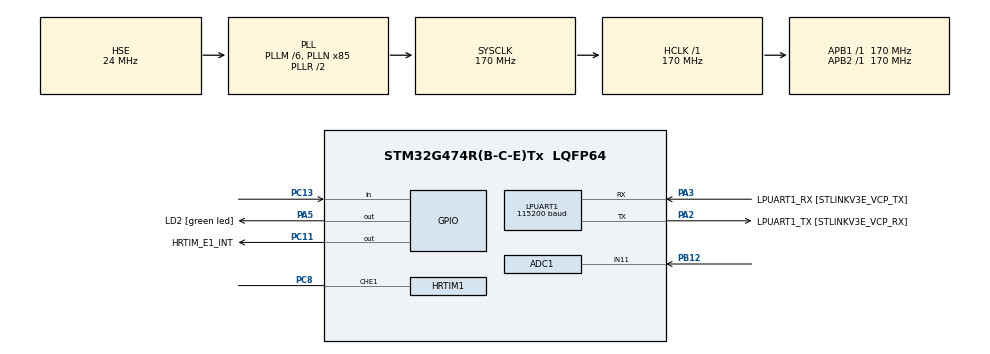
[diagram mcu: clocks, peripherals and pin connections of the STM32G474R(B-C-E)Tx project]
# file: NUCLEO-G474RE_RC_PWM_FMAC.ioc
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ADC1.Channel-0\#ChannelRegularConversion=ADC_CHANNEL_11
ADC1.ClockPrescaler=ADC_CLOCK_ASYNC_DIV4
ADC1.DMAContinuousRequests=ENABLE
ADC1.DataAlign=ADC_DATAALIGN_LEFT
ADC1.EOCSelection=ADC_EOC_SINGLE_CONV
ADC1.EnableInjectedConversion=DISABLE
ADC1.ExternalTrigConv=ADC_EXTERNALTRIG_HRTIM_TRG1
ADC1.GainCompensation=0
ADC1.NbrOfConversionFlag=1
ADC1.Offset-0\#ChannelRegularConversion=2048
ADC1.OffsetNumber-0\#ChannelRegularConversion=ADC_OFFSET_1
ADC1.Overrun=ADC_OVR_DATA_OVERWRITTEN
ADC1.Rank-0\#ChannelRegularConversion=1
ADC1.Rank1_Channel=ADC_CHANNEL_11
ADC1.SamplingTime-0\#ChannelRegularConversion=ADC_SAMPLETIME_6CYCLES_5
ADC1.master=1
Dma.ADC1.0.Direction=DMA_PERIPH_TO_MEMORY
Dma.ADC1.0.EventEnable=DISABLE
Dma.ADC1.0.Instance=DMA1_Channel1
Dma.ADC1.0.MemDataAlignment=DMA_MDATAALIGN_WORD
Dma.ADC1.0.MemInc=DMA_MINC_ENABLE
Dma.ADC1.0.Mode=DMA_CIRCULAR
Dma.ADC1.0.PeriphDataAlignment=DMA_PDATAALIGN_WORD
Dma.ADC1.0.PeriphInc=DMA_PINC_DISABLE
Dma.ADC1.0.Polarity=HAL_DMAMUX_REQ_GEN_RISING
Dma.ADC1.0.Priority=DMA_PRIORITY_MEDIUM
Dma.ADC1.0.RequestNumber=1
Dma.ADC1.0.SignalID=NONE
Dma.ADC1.0.SyncEnable=DISABLE
Dma.ADC1.0.SyncPolarity=HAL_DMAMUX_SYNC_NO_EVENT
Dma.ADC1.0.SyncRequestNumber=1
Dma.ADC1.0.SyncSignalID=NONE
Dma.Request0=ADC1
HRTIM1.ADCTrigger1_Source1=HRTIM_ADCTRIGGEREVENT13_TIMERE_CMP3
HRTIM1.ADCTrigger_Id1=HRTIM_ADCTRIGGER_1
HRTIM1.CompareUnit1-Output_TE1=HRTIM_COMPAREUNIT_1
HRTIM1.CompareUnit2-Output_TE1=__NULL
HRTIM1.CompareUnit3-Output_TE1=HRTIM_COMPAREUNIT_3
HRTIM1.CompareValue1-Output_TE1=400
HRTIM1.CompareValue3-Output_TE1=27000
HRTIM1.Event_EEV1=__NULL
HRTIM1.HRTIMInterruptResquests1=HRTIM_IT_NONE
HRTIM1.HRTIMInterruptResquests2=HRTIM_IT_NONE
HRTIM1.HRTIMInterruptResquests3=HRTIM_IT_NONE
HRTIM1.InterruptRequests1-Output_TE1=HRTIM_TIM_IT_UPD
HRTIM1.NumberADCTriggerSource1=1
HRTIM1.NumberFaultEnable-Output_TE1=0
HRTIM1.NumberInterruptRequests-Output_TE1=0
HRTIM1.NumberResetSource1-Output_TE1=1
HRTIM1.NumberResetTrigger-Output_TE1=0
HRTIM1.NumberSetSource1-Output_TE1=1
HRTIM1.NumberUpdateTrigger-Output_TE1=0
HRTIM1.ORingUpdateSource_ADCTrigger1=HRTIM_ADCTRIGGERUPDATE_TIMER_E
HRTIM1.Periode_TE=27200
HRTIM1.PreloadEnable-Output_TE1=HRTIM_PRELOAD_DISABLED
HRTIM1.PrescalerRatio_TE=HRTIM_PRESCALERRATIO_MUL8
HRTIM1.ReSyncUpdate-Output_TE1=HRTIM_TIMERESYNC_UPDATE_UNCONDITIONAL
HRTIM1.RepetitionCounter-Output_TE1=1
HRTIM1.RepetitionUpdate-Output_TE1=HRTIM_UPDATEONREPETITION_DISABLED
HRTIM1.ResetOutput1_Source1-Output_TE1=HRTIM_OUTPUTRESET_TIMCMP1
HRTIM1.ResetUpdate-Output_TE1=HRTIM_TIMUPDATEONRESET_DISABLED
HRTIM1.SetOutput1_Source1-Output_TE1=HRTIM_OUTPUTSET_TIMPER
LPUART1.BaudRate=115200
LPUART1.WordLength=UART_WORDLENGTH_8B
Mcu.Family=STM32G4
Mcu.Name=STM32G474R(B-C-E)Tx
Mcu.Package=LQFP64
NVIC.FMAC_IRQn=true\:0\:0\:false\:false\:true\:true\:false
NVIC.PriorityGroup=NVIC_PRIORITYGROUP_4
PA13.GPIO_Label=T_SWDIO
PA13.Mode=Trace_Asynchronous_SW
PA13.Signal=SYS_JTMS-SWDIO
PA14.GPIO_Label=T_SWCLK
PA14.Mode=Trace_Asynchronous_SW
PA14.Signal=SYS_JTCK-SWCLK
PA2.GPIO_Label=LPUART1_TX [STLINKV3E_VCP_RX]
PA2.Mode=Asynchronous
PA2.Signal=LPUART1_TX
PA3.GPIO_Label=LPUART1_RX [STLINKV3E_VCP_TX]
PA3.Mode=Asynchronous
PA3.Signal=LPUART1_RX
PA5.GPIO_Label=LD2 [green led]
PA5.Signal=GPIO_Output
PB12.Mode=IN11-Single-Ended
PB12.Signal=ADC1_IN11
PB3.GPIO_Label=T_SWO
PB3.Mode=Trace_Asynchronous_SW
PB3.Signal=SYS_JTDO-SWO
PC11.GPIO_Label=HRTIM_E1_INT
PC11.GPIO_Speed=GPIO_SPEED_FREQ_LOW
PC11.Signal=GPIO_Output
PC13.GPIO_PuPd=GPIO_NOPULL
PC13.Signal=GPIO_Input
PC14-OSC32_IN.Mode=LSE-External-Oscillator
PC14-OSC32_IN.Signal=RCC_OSC32_IN
PC15-OSC32_OUT.Mode=LSE-External-Oscillator
PC15-OSC32_OUT.Signal=RCC_OSC32_OUT
PC8.GPIO_Speed_High_Default=GPIO_SPEED_FREQ_LOW
PC8.Mode=Output_TE1
PC8.Signal=HRTIM1_CHE1
PF0-OSC_IN.Mode=HSE-External-Oscillator
PF0-OSC_IN.Signal=RCC_OSC_IN
PF1-OSC_OUT.Mode=HSE-External-Oscillator
PF1-OSC_OUT.Signal=RCC_OSC_OUT
ProjectManager.HeapSize=0x200
ProjectManager.StackSize=0x400
ProjectManager.TargetToolchain=STM32CubeIDE
RCC.ADC12Freq_Value=170000000
RCC.ADC345Freq_Value=170000000
RCC.AHBFreq_Value=170000000
RCC.APB1Freq_Value=170000000
RCC.APB1TimFreq_Value=170000000
RCC.APB2Freq_Value=170000000
RCC.APB2TimFreq_Value=170000000
RCC.CortexFreq_Value=170000000
RCC.EXTERNAL_CLOCK_VALUE=12288000
RCC.HCLKFreq_Value=170000000
RCC.HSE_VALUE=24000000
RCC.HSI48_VALUE=48000000
RCC.HSI_VALUE=16000000
RCC.PLLM=RCC_PLLM_DIV6
RCC.PLLN=85
RCC.PLLSourceVirtual=RCC_PLLSOURCE_HSE
RCC.RTCClockSelection=RCC_RTCCLKSOURCE_LSE
RCC.SYSCLKFreq_VALUE=170000000
RCC.SYSCLKSource=RCC_SYSCLKSOURCE_PLLCLK
RCC.USBFreq_Value=170000000
RCC.VCOOutputFreq_Value=340000000
VP_FMAC_VS_FMAC.Mode=FMAC_Activate
VP_SYS_VS_DBSignals.Mode=DisableDeadBatterySignals
board=NUCLEO-G474RE

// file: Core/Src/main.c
/* USER CODE BEGIN Header */
/**
  ******************************************************************************
  * @file           : main.c
  * @brief          : Main program body
  ******************************************************************************
  * @attention
  *
  * <h2><center>&copy; Copyright (c) 2021 STMicroelectronics.
  * All rights reserved.</center></h2>
  *
  * This software component is licensed by ST under BSD 3-Clause license,
  * the "License"; You may not use this file except in compliance with the
  * License. You may obtain a copy of the License at:
  *                        opensource.org/licenses/BSD-3-Clause
  *
  ******************************************************************************
  */
/* USER CODE END Header */
#include "main.h"

/* USER CODE BEGIN PD */

#define MAX_PHASE 27180
#define MIN_PHASE 30
#define SAT_LIMIT 25000

/* USER CODE END PD */

ADC_HandleTypeDef hadc1;
DMA_HandleTypeDef hdma_adc1;

FMAC_HandleTypeDef hfmac;

HRTIM_HandleTypeDef hhrtim1;

UART_HandleTypeDef hlpuart1;

/* USER CODE BEGIN PV */

//__IO uint16_t Vout = 0U;
//uint32_t Vtarget, pid_out_last, pid_out;
//volatile int32_t error, last_error, errorProp, errorIntgr, errorDiff;
//uint16_t Kp = 1;
//uint16_t Ki = 100;
//uint16_t Kd = 100;

/* FMAC configuration structure */
FMAC_FilterConfigTypeDef sFmacConfig;

/* Array of filter coefficients A (feedback coefficients) in Q1.15 format */
static int16_t aFilterCoeffA[COEFF_VECTOR_A_SIZE] = {A1,A2,A3};

/* Array of filter coefficients B (feed-forward taps) in Q1.15 format */
static int16_t aFilterCoeffB[COEFF_VECTOR_B_SIZE] = {-B0,-B1,-B2,-B3};

/* Array of output data to preload in Q1.15 format */
static int16_t aOutputDataToPreload[COEFF_VECTOR_A_SIZE] = {0x0000, 0x0000, 0x0000};

/* Expected number of calculated samples */
uint16_t ExpectedCalculatedOutputSize = (uint16_t) 1;
uint32_t *Fmac_Wdata;
int16_t Fmac_output;

/* Memorizes the number of active Resistors load */
uint8_t NbrActiveLoad;

uint32_t tmp;

/* USER CODE END PV */

void SystemClock_Config(void);
static void MX_GPIO_Init(void);
static void MX_DMA_Init(void);
static void MX_LPUART1_UART_Init(void);
static void MX_HRTIM1_Init(void);
static void MX_ADC1_Init(void);
static void MX_FMAC_Init(void);
/* USER CODE BEGIN PFP */

static void VT_HRTIM1_Start_Output(void);
volatile void VT_FMAC_Controller(void);
//static void VT_PID_Controller(void);

/* USER CODE END PFP */

/* USER CODE BEGIN 0 */

//&Vout = (uint32_t *) FMAC_WDATA;

/* USER CODE END 0 */

int main(void)
{

  /* MCU Configuration--------------------------------------------------------*/

  /* Reset of all peripherals, Initializes the Flash interface and the Systick. */
  HAL_Init();

  /* Configure the system clock */
  SystemClock_Config();

  /* Initialize all configured peripherals */
  MX_GPIO_Init();
  MX_DMA_Init();
  MX_LPUART1_UART_Init();
  MX_HRTIM1_Init();
  MX_ADC1_Init();
  MX_FMAC_Init();
  /* USER CODE BEGIN 2 */

  /*## Configure the FMAC peripheral ###########################################*/
  sFmacConfig.InputBaseAddress  = INPUT_BUFFER_BASE;
  sFmacConfig.InputBufferSize   = INPUT_BUFFER_SIZE;
  sFmacConfig.InputThreshold    = INPUT_THRESHOLD;
  sFmacConfig.CoeffBaseAddress  = COEFFICIENT_BUFFER_BASE;
  sFmacConfig.CoeffBufferSize   = COEFFICIENT_BUFFER_SIZE;
  sFmacConfig.OutputBaseAddress = OUTPUT_BUFFER_BASE;
  sFmacConfig.OutputBufferSize  = OUTPUT_BUFFER_SIZE;
  sFmacConfig.OutputThreshold   = OUTPUT_THRESHOLD;
  sFmacConfig.pCoeffA           = aFilterCoeffA;
  sFmacConfig.CoeffASize        = COEFF_VECTOR_A_SIZE;
  sFmacConfig.pCoeffB           = aFilterCoeffB;
  sFmacConfig.CoeffBSize        = COEFF_VECTOR_B_SIZE;
  sFmacConfig.Filter            = FMAC_FUNC_IIR_DIRECT_FORM_1;
  sFmacConfig.InputAccess       = FMAC_BUFFER_ACCESS_NONE;
  sFmacConfig.OutputAccess      = FMAC_BUFFER_ACCESS_IT;
  sFmacConfig.Clip              = FMAC_CLIP_ENABLED;
  sFmacConfig.P                 = COEFF_VECTOR_B_SIZE;
  sFmacConfig.Q                 = COEFF_VECTOR_A_SIZE;
  sFmacConfig.R                 = KC_shift;

  if (HAL_FMAC_FilterConfig(&hfmac, &sFmacConfig) != HAL_OK)
  {
    /* Configuration Error */
    Error_Handler();
  }

  /*## Preload the input and output buffers ####################################*/
  if (HAL_FMAC_FilterPreload(&hfmac, NULL, INPUT_BUFFER_SIZE,
                             aOutputDataToPreload, COEFF_VECTOR_A_SIZE) != HAL_OK)
  {
    /* Configuration Error */
    Error_Handler();
  }
  /* Start calculation of IIR filter */
   if (HAL_FMAC_FilterStart(&hfmac,&Fmac_output,&ExpectedCalculatedOutputSize) != HAL_OK)
  {
    /* Processing Error */
    Error_Handler();
  }

  /* Run the ADC calibration in single-ended mode */
  if (HAL_ADCEx_Calibration_Start(&hadc1, ADC_SINGLE_ENDED) != HAL_OK)
  {
    /* Calibration Error */
    Error_Handler();
  }

  /* Start ADC group regular conversion with DMA */
  /* Start ADC and DMA */
  Fmac_Wdata = (uint32_t *) FMAC_WDATA;
  if (HAL_ADC_Start_DMA(&hadc1, (uint32_t *) Fmac_Wdata, 1) != HAL_OK)
  {
    /* ADC conversion start error */
    Error_Handler();
  }

//  /* Start ADC group regular conversion with IT */
//  if (HAL_ADC_Start_IT(&hadc1) != HAL_OK)
//  {
//    /* ADC conversion start error */
//    Error_Handler();
//  }

  VT_HRTIM1_Start_Output();

//  while(!HAL_GPIO_ReadPin(GPIOC, GPIO_PIN_13))
//  {
//	  HRTIM1->sTimerxRegs[HRTIM_TIMERINDEX_TIMER_E].CMP1xR = 0;
//  }

//  Vtarget = 2500;

  /* USER CODE END 2 */

  /* Infinite loop */
  /* USER CODE BEGIN WHILE */
  while (1)
  {

//	  GPIOC->BSRR = (1<<11); // start
//	  HAL_Delay(100);
//	  GPIOC->BSRR = (1<<(11+16)); // end + 16
//	  HAL_Delay(100);

    /* USER CODE END WHILE */

  }
}

void SystemClock_Config(void)
{
  RCC_OscInitTypeDef RCC_OscInitStruct = {0};
  RCC_ClkInitTypeDef RCC_ClkInitStruct = {0};
  RCC_PeriphCLKInitTypeDef PeriphClkInit = {0};

  /** Configure the main internal regulator output voltage
  */
  HAL_PWREx_ControlVoltageScaling(PWR_REGULATOR_VOLTAGE_SCALE1_BOOST);
  /** Initializes the RCC Oscillators according to the specified parameters
  * in the RCC_OscInitTypeDef structure.
  */
  RCC_OscInitStruct.OscillatorType = RCC_OSCILLATORTYPE_HSE;
  RCC_OscInitStruct.HSEState = RCC_HSE_ON;
  RCC_OscInitStruct.PLL.PLLState = RCC_PLL_ON;
  RCC_OscInitStruct.PLL.PLLSource = RCC_PLLSOURCE_HSE;
  RCC_OscInitStruct.PLL.PLLM = RCC_PLLM_DIV6;
  RCC_OscInitStruct.PLL.PLLN = 85;
  RCC_OscInitStruct.PLL.PLLP = RCC_PLLP_DIV2;
  RCC_OscInitStruct.PLL.PLLQ = RCC_PLLQ_DIV2;
  RCC_OscInitStruct.PLL.PLLR = RCC_PLLR_DIV2;
  if (HAL_RCC_OscConfig(&RCC_OscInitStruct) != HAL_OK)
  {
    Error_Handler();
  }
  /** Initializes the CPU, AHB and APB buses clocks
  */
  RCC_ClkInitStruct.ClockType = RCC_CLOCKTYPE_HCLK|RCC_CLOCKTYPE_SYSCLK
                              |RCC_CLOCKTYPE_PCLK1|RCC_CLOCKTYPE_PCLK2;
  RCC_ClkInitStruct.SYSCLKSource = RCC_SYSCLKSOURCE_PLLCLK;
  RCC_ClkInitStruct.AHBCLKDivider = RCC_SYSCLK_DIV1;
  RCC_ClkInitStruct.APB1CLKDivider = RCC_HCLK_DIV1;
  RCC_ClkInitStruct.APB2CLKDivider = RCC_HCLK_DIV1;

  if (HAL_RCC_ClockConfig(&RCC_ClkInitStruct, FLASH_LATENCY_4) != HAL_OK)
  {
    Error_Handler();
  }
  /** Initializes the peripherals clocks
  */
  PeriphClkInit.PeriphClockSelection = RCC_PERIPHCLK_LPUART1|RCC_PERIPHCLK_ADC12;
  PeriphClkInit.Lpuart1ClockSelection = RCC_LPUART1CLKSOURCE_PCLK1;
  PeriphClkInit.Adc12ClockSelection = RCC_ADC12CLKSOURCE_SYSCLK;
  if (HAL_RCCEx_PeriphCLKConfig(&PeriphClkInit) != HAL_OK)
  {
    Error_Handler();
  }
}

static void MX_ADC1_Init(void)
{

  ADC_MultiModeTypeDef multimode = {0};
  ADC_ChannelConfTypeDef sConfig = {0};

  /** Common config
  */
  hadc1.Instance = ADC1;
  hadc1.Init.ClockPrescaler = ADC_CLOCK_ASYNC_DIV4;
  hadc1.Init.Resolution = ADC_RESOLUTION_12B;
  hadc1.Init.DataAlign = ADC_DATAALIGN_LEFT;
  hadc1.Init.GainCompensation = 0;
  hadc1.Init.ScanConvMode = ADC_SCAN_DISABLE;
  hadc1.Init.EOCSelection = ADC_EOC_SINGLE_CONV;
  hadc1.Init.LowPowerAutoWait = DISABLE;
  hadc1.Init.ContinuousConvMode = DISABLE;
  hadc1.Init.NbrOfConversion = 1;
  hadc1.Init.DiscontinuousConvMode = DISABLE;
  hadc1.Init.ExternalTrigConv = ADC_EXTERNALTRIG_HRTIM_TRG1;
  hadc1.Init.ExternalTrigConvEdge = ADC_EXTERNALTRIGCONVEDGE_RISING;
  hadc1.Init.DMAContinuousRequests = ENABLE;
  hadc1.Init.Overrun = ADC_OVR_DATA_OVERWRITTEN;
  hadc1.Init.OversamplingMode = DISABLE;
  if (HAL_ADC_Init(&hadc1) != HAL_OK)
  {
    Error_Handler();
  }
  /** Configure the ADC multi-mode
  */
  multimode.Mode = ADC_MODE_INDEPENDENT;
  if (HAL_ADCEx_MultiModeConfigChannel(&hadc1, &multimode) != HAL_OK)
  {
    Error_Handler();
  }
  /** Configure Regular Channel
  */
  sConfig.Channel = ADC_CHANNEL_11;
  sConfig.Rank = ADC_REGULAR_RANK_1;
  sConfig.SamplingTime = ADC_SAMPLETIME_6CYCLES_5;
  sConfig.SingleDiff = ADC_SINGLE_ENDED;
  sConfig.OffsetNumber = ADC_OFFSET_1;
  sConfig.Offset = 2048;
  sConfig.OffsetSign = ADC_OFFSET_SIGN_NEGATIVE;
  sConfig.OffsetSaturation = DISABLE;
  if (HAL_ADC_ConfigChannel(&hadc1, &sConfig) != HAL_OK)
  {
    Error_Handler();
  }
  /* USER CODE BEGIN ADC1_Init 2 */

  /* CubeMX enables DMA interrupt even if not configured */
  HAL_NVIC_DisableIRQ(DMA1_Channel1_IRQn);

  /* USER CODE END ADC1_Init 2 */

}

static void MX_FMAC_Init(void)
{

  hfmac.Instance = FMAC;
  if (HAL_FMAC_Init(&hfmac) != HAL_OK)
  {
    Error_Handler();
  }

}

static void MX_HRTIM1_Init(void)
{

  HRTIM_ADCTriggerCfgTypeDef pADCTriggerCfg = {0};
  HRTIM_TimeBaseCfgTypeDef pTimeBaseCfg = {0};
  HRTIM_TimerCtlTypeDef pTimerCtl = {0};
  HRTIM_TimerCfgTypeDef pTimerCfg = {0};
  HRTIM_CompareCfgTypeDef pCompareCfg = {0};
  HRTIM_OutputCfgTypeDef pOutputCfg = {0};

  hhrtim1.Instance = HRTIM1;
  hhrtim1.Init.HRTIMInterruptResquests = HRTIM_IT_NONE;
  hhrtim1.Init.SyncOptions = HRTIM_SYNCOPTION_NONE;
  if (HAL_HRTIM_Init(&hhrtim1) != HAL_OK)
  {
    Error_Handler();
  }
  if (HAL_HRTIM_DLLCalibrationStart(&hhrtim1, HRTIM_CALIBRATIONRATE_3) != HAL_OK)
  {
    Error_Handler();
  }
  if (HAL_HRTIM_PollForDLLCalibration(&hhrtim1, 10) != HAL_OK)
  {
    Error_Handler();
  }
  pADCTriggerCfg.UpdateSource = HRTIM_ADCTRIGGERUPDATE_TIMER_E;
  pADCTriggerCfg.Trigger = HRTIM_ADCTRIGGEREVENT13_TIMERE_CMP3;
  if (HAL_HRTIM_ADCTriggerConfig(&hhrtim1, HRTIM_ADCTRIGGER_1, &pADCTriggerCfg) != HAL_OK)
  {
    Error_Handler();
  }
  if (HAL_HRTIM_ADCPostScalerConfig(&hhrtim1, HRTIM_ADCTRIGGER_1, 0x0) != HAL_OK)
  {
    Error_Handler();
  }
  pTimeBaseCfg.Period = 27200;
  pTimeBaseCfg.RepetitionCounter = 1;
  pTimeBaseCfg.PrescalerRatio = HRTIM_PRESCALERRATIO_MUL8;
  pTimeBaseCfg.Mode = HRTIM_MODE_CONTINUOUS;
  if (HAL_HRTIM_TimeBaseConfig(&hhrtim1, HRTIM_TIMERINDEX_TIMER_E, &pTimeBaseCfg) != HAL_OK)
  {
    Error_Handler();
  }
  pTimerCtl.UpDownMode = HRTIM_TIMERUPDOWNMODE_UP;
  pTimerCtl.GreaterCMP3 = HRTIM_TIMERGTCMP3_EQUAL;
  pTimerCtl.GreaterCMP1 = HRTIM_TIMERGTCMP1_EQUAL;
  pTimerCtl.DualChannelDacEnable = HRTIM_TIMER_DCDE_DISABLED;
  if (HAL_HRTIM_WaveformTimerControl(&hhrtim1, HRTIM_TIMERINDEX_TIMER_E, &pTimerCtl) != HAL_OK)
  {
    Error_Handler();
  }
  pTimerCfg.InterruptRequests = HRTIM_MASTER_IT_NONE;
  pTimerCfg.DMARequests = HRTIM_TIM_DMA_NONE;
  pTimerCfg.DMASrcAddress = 0x0000;
  pTimerCfg.DMADstAddress = 0x0000;
  pTimerCfg.DMASize = 0x1;
  pTimerCfg.HalfModeEnable = HRTIM_HALFMODE_DISABLED;
  pTimerCfg.InterleavedMode = HRTIM_INTERLEAVED_MODE_DISABLED;
  pTimerCfg.StartOnSync = HRTIM_SYNCSTART_DISABLED;
  pTimerCfg.ResetOnSync = HRTIM_SYNCRESET_DISABLED;
  pTimerCfg.DACSynchro = HRTIM_DACSYNC_NONE;
  pTimerCfg.PreloadEnable = HRTIM_PRELOAD_DISABLED;
  pTimerCfg.UpdateGating = HRTIM_UPDATEGATING_INDEPENDENT;
  pTimerCfg.BurstMode = HRTIM_TIMERBURSTMODE_MAINTAINCLOCK;
  pTimerCfg.RepetitionUpdate = HRTIM_UPDATEONREPETITION_DISABLED;
  pTimerCfg.PushPull = HRTIM_TIMPUSHPULLMODE_DISABLED;
  pTimerCfg.FaultEnable = HRTIM_TIMFAULTENABLE_NONE;
  pTimerCfg.FaultLock = HRTIM_TIMFAULTLOCK_READWRITE;
  pTimerCfg.DeadTimeInsertion = HRTIM_TIMDEADTIMEINSERTION_DISABLED;
  pTimerCfg.DelayedProtectionMode = HRTIM_TIMER_D_E_DELAYEDPROTECTION_DISABLED;
  pTimerCfg.UpdateTrigger = HRTIM_TIMUPDATETRIGGER_NONE;
  pTimerCfg.ResetTrigger = HRTIM_TIMRESETTRIGGER_NONE;
  pTimerCfg.ResetUpdate = HRTIM_TIMUPDATEONRESET_DISABLED;
  pTimerCfg.ReSyncUpdate = HRTIM_TIMERESYNC_UPDATE_UNCONDITIONAL;
  if (HAL_HRTIM_WaveformTimerConfig(&hhrtim1, HRTIM_TIMERINDEX_TIMER_E, &pTimerCfg) != HAL_OK)
  {
    Error_Handler();
  }
  pCompareCfg.CompareValue = 400;
  if (HAL_HRTIM_WaveformCompareConfig(&hhrtim1, HRTIM_TIMERINDEX_TIMER_E, HRTIM_COMPAREUNIT_1, &pCompareCfg) != HAL_OK)
  {
    Error_Handler();
  }
  pCompareCfg.CompareValue = 27000;
  if (HAL_HRTIM_WaveformCompareConfig(&hhrtim1, HRTIM_TIMERINDEX_TIMER_E, HRTIM_COMPAREUNIT_3, &pCompareCfg) != HAL_OK)
  {
    Error_Handler();
  }
  pOutputCfg.Polarity = HRTIM_OUTPUTPOLARITY_HIGH;
  pOutputCfg.SetSource = HRTIM_OUTPUTSET_TIMPER;
  pOutputCfg.ResetSource = HRTIM_OUTPUTRESET_TIMCMP1;
  pOutputCfg.IdleMode = HRTIM_OUTPUTIDLEMODE_NONE;
  pOutputCfg.IdleLevel = HRTIM_OUTPUTIDLELEVEL_INACTIVE;
  pOutputCfg.FaultLevel = HRTIM_OUTPUTFAULTLEVEL_NONE;
  pOutputCfg.ChopperModeEnable = HRTIM_OUTPUTCHOPPERMODE_DISABLED;
  pOutputCfg.BurstModeEntryDelayed = HRTIM_OUTPUTBURSTMODEENTRY_REGULAR;
  if (HAL_HRTIM_WaveformOutputConfig(&hhrtim1, HRTIM_TIMERINDEX_TIMER_E, HRTIM_OUTPUT_TE1, &pOutputCfg) != HAL_OK)
  {
    Error_Handler();
  }
  HAL_HRTIM_MspPostInit(&hhrtim1);

}

static void MX_LPUART1_UART_Init(void)
{

  hlpuart1.Instance = LPUART1;
  hlpuart1.Init.BaudRate = 115200;
  hlpuart1.Init.WordLength = UART_WORDLENGTH_8B;
  hlpuart1.Init.StopBits = UART_STOPBITS_1;
  hlpuart1.Init.Parity = UART_PARITY_NONE;
  hlpuart1.Init.Mode = UART_MODE_TX_RX;
  hlpuart1.Init.HwFlowCtl = UART_HWCONTROL_NONE;
  hlpuart1.Init.OneBitSampling = UART_ONE_BIT_SAMPLE_DISABLE;
  hlpuart1.Init.ClockPrescaler = UART_PRESCALER_DIV1;
  hlpuart1.AdvancedInit.AdvFeatureInit = UART_ADVFEATURE_NO_INIT;
  if (HAL_UART_Init(&hlpuart1) != HAL_OK)
  {
    Error_Handler();
  }
  if (HAL_UARTEx_SetTxFifoThreshold(&hlpuart1, UART_TXFIFO_THRESHOLD_1_8) != HAL_OK)
  {
    Error_Handler();
  }
  if (HAL_UARTEx_SetRxFifoThreshold(&hlpuart1, UART_RXFIFO_THRESHOLD_1_8) != HAL_OK)
  {
    Error_Handler();
  }
  if (HAL_UARTEx_DisableFifoMode(&hlpuart1) != HAL_OK)
  {
    Error_Handler();
  }

}

static void MX_DMA_Init(void)
{

  /* DMA controller clock enable */
  __HAL_RCC_DMAMUX1_CLK_ENABLE();
  __HAL_RCC_DMA1_CLK_ENABLE();

}

static void MX_GPIO_Init(void)
{
  GPIO_InitTypeDef GPIO_InitStruct = {0};

  /* GPIO Ports Clock Enable */
  __HAL_RCC_GPIOC_CLK_ENABLE();
  __HAL_RCC_GPIOF_CLK_ENABLE();
  __HAL_RCC_GPIOA_CLK_ENABLE();
  __HAL_RCC_GPIOB_CLK_ENABLE();

  /*Configure GPIO pin Output Level */
  HAL_GPIO_WritePin(LD2_GPIO_Port, LD2_Pin, GPIO_PIN_RESET);

  /*Configure GPIO pin Output Level */
  HAL_GPIO_WritePin(HRTIM_E1_INT_GPIO_Port, HRTIM_E1_INT_Pin, GPIO_PIN_RESET);

  /*Configure GPIO pin : PC13 */
  GPIO_InitStruct.Pin = GPIO_PIN_13;
  GPIO_InitStruct.Mode = GPIO_MODE_INPUT;
  GPIO_InitStruct.Pull = GPIO_NOPULL;
  HAL_GPIO_Init(GPIOC, &GPIO_InitStruct);

  /*Configure GPIO pin : LD2_Pin */
  GPIO_InitStruct.Pin = LD2_Pin;
  GPIO_InitStruct.Mode = GPIO_MODE_OUTPUT_PP;
  GPIO_InitStruct.Pull = GPIO_NOPULL;
  GPIO_InitStruct.Speed = GPIO_SPEED_FREQ_LOW;
  HAL_GPIO_Init(LD2_GPIO_Port, &GPIO_InitStruct);

  /*Configure GPIO pin : HRTIM_E1_INT_Pin */
  GPIO_InitStruct.Pin = HRTIM_E1_INT_Pin;
  GPIO_InitStruct.Mode = GPIO_MODE_OUTPUT_PP;
  GPIO_InitStruct.Pull = GPIO_NOPULL;
  GPIO_InitStruct.Speed = GPIO_SPEED_FREQ_LOW;
  HAL_GPIO_Init(HRTIM_E1_INT_GPIO_Port, &GPIO_InitStruct);

}

/* USER CODE BEGIN 4 */

static void VT_HRTIM1_Start_Output(void)
{

	HAL_HRTIM_WaveformOutputStart(&hhrtim1, HRTIM_OUTPUT_TE1 );
	HAL_HRTIM_WaveformCountStart(&hhrtim1, HRTIM_TIMERID_TIMER_E);

}

volatile void VT_FMAC_Controller(void)
{

	  tmp = READ_REG(hfmac.Instance->RDATA);
	  tmp = (tmp > 0x00007FFF ? 0 : tmp);

	  if (tmp > 25000)
		  tmp = 25000;
	  if (tmp <= 10)
		  tmp = 10;

	  __HAL_HRTIM_SETCOMPARE( &hhrtim1, HRTIM_TIMERINDEX_TIMER_E, HRTIM_COMPAREUNIT_1, tmp);
}

//void VT_PID_Controller(void)
//{
//
//	last_error = error;
//	error = Vtarget - Vout;
//
//	errorProp = (Kp * error) / 10;
//	errorIntgr = errorIntgr + ((Ki * error) / 10);
//	errorDiff = error / Kd;
//
//	// check if the change is so much to prevent oscillations, see below "pid_out_diff"
//	pid_out_last = pid_out;
//
//	if (errorIntgr > SAT_LIMIT)
//	{
//		errorIntgr = SAT_LIMIT;
//	}
//	if (errorIntgr < -(SAT_LIMIT))
//	{
//		errorIntgr = -(SAT_LIMIT);
//	}
//
//	// my understanding
//	//pid_out = Kp * error + errorSum * Ki + Kd * errorRate;
//
//	// from FW
//	/*
//	seterr = (-Kp * error) / 200;
//	Int_term_Buck = Int_term_Buck + ((-Ki * error) / 200);
//	pid_out = seterr + Int_term_Buck;
//	 */
//	pid_out =  errorProp + errorIntgr + errorDiff;
//
//	if (pid_out >= MAX_PHASE)
//	{
//		pid_out = MAX_PHASE;
//	}
//
//	if (pid_out < MIN_PHASE)
//	{
//		pid_out = MIN_PHASE;
//	}
//
//	//HRTIM1->sMasterRegs.MCMP1R = CurrentPhase;
//	HRTIM1->sTimerxRegs[HRTIM_TIMERINDEX_TIMER_E].CMP1xR = pid_out;
//	//__HAL_HRTIM_SETCOMPARE( &hhrtim1, HRTIM_TIMERINDEX_TIMER_E, HRTIM_COMPAREUNIT_1, pid_out);
//
//	// check if the change is so much to prevent oscillations, see above "pid_out_last"
//	// pid_out_diff = pid_out - pid_out_last;
//
//}

//void HAL_ADC_ConvCpltCallback(ADC_HandleTypeDef *hadc)
//{
//  /* Prevent unused argument(s) compilation warning */
//  UNUSED(hadc);
//
//  /* NOTE : This function should not be modified. When the callback is needed,
//            function HAL_ADC_ConvCpltCallback must be implemented in the user file.
//   */
//  GPIOC->BSRR = (1<<11); // start
//  GPIOC->BSRR = (1<<(11+16)); // end + 16
//
//
//  VT_PID_Controller();
//
//}

/* USER CODE END 4 */

void Error_Handler(void)
{
  __disable_irq();
  while (1)
  {
  }
}

/************************ (C) COPYRIGHT STMicroelectronics *****END OF FILE****/
